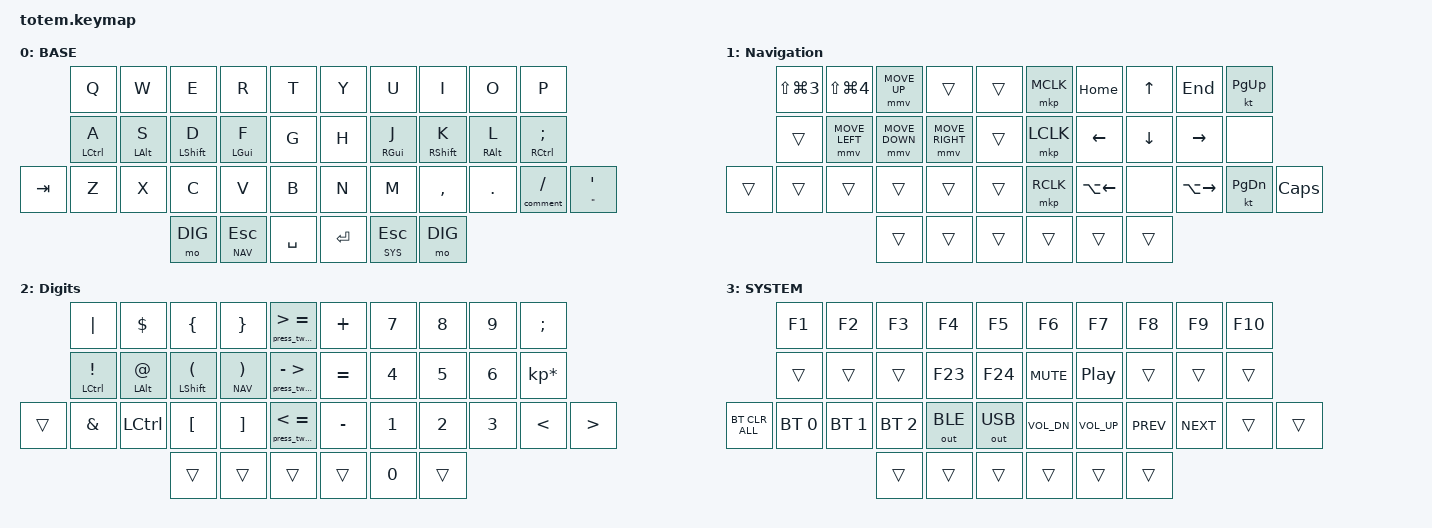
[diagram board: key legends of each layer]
//
//                                                        ▀▀▀▀▀     ▀▀▀▀▀          ▀▀█▀▀
//                                                        ▄▀▀▀▄  ▄  ▄▀▀▀▄  ▄  ▄▀▀▀▄  █  ▄▀▀▀▄
//                                                        █   █  █  █   █  █  █   █  █  █   █
//                                                         ▀▀▀   █   ▀▀▀   █   ▀▀▀   ▀   ▀▀▀
//                                                               █      ▄▄▄█▄▄▄    █   █
//                                                               ▀      █  █  █     █▄█
//                                                             ▀▀▀▀▀    █  █  █      ▀
//                                                                      ▀  ▀  ▀
//
// ▄▄▄▄▄▄▄▄▄▄▄▄▄▄▄▄▄▄▄▄▄▄▄▄▄▄▄▄▄▄▄▄▄▄▄▄▄▄▄▄▄▄▄▄▄▄▄▄▄▄▄▄▄▄▄▄▄▄▄▄▄▄▄▄▄▄▄▄▄▄▄▄▄▄▄▄▄▄▄▄▄▄▄▄▄▄▄▄▄▄▄▄▄▄▄▄▄▄▄▄▄▄▄▄▄▄▄▄▄▄▄▄▄▄▄▄▄▄▄▄▄▄▄▄▄▄▄▄▄▄▄▄▄▄▄▄▄▄▄▄▄▄▄▄▄▄▄▄▄

#include "zmk-helpers/helper.h"
#include "zmk-helpers/key-labels/totem.h"
#include <behaviors.dtsi>
#include <dt-bindings/zmk/bt.h>
#include <dt-bindings/zmk/keys.h>
#include <dt-bindings/zmk/outputs.h>
#include <dt-bindings/zmk/pointing.h>

#define BASE 0
#define NAV  1
#define DIG  2
#define SYS  3
#define QUICK_TAP_MS 175

#define COMBO_TIMEOUT_LANG_SEL_MS 70
#define COMBO_IDLE_LANG_SEL_MS 250
#define COMBO_LANG_EN_POS 23 24
#define COMBO_LANG_RU_POS 28 27

/* Timeless homerow mods */
// https://github.com/urob/zmk-config/tree/main#timeless-homerow-mods

#define KEYS_L LT0 LT1 LT2 LT3 LT4 LM0 LM1 LM2 LM3 LM4 LB0 LB1 LB2 LB3 LB4 LB5  // left hand
#define KEYS_R RT0 RT1 RT2 RT3 RT4 RM0 RM1 RM2 RM3 RM4 RB0 RB1 RB2 RB3 RB4 RB5  // right hand
#define THUMBS LH2 LH1 LH0 RH0 RH1 RH2 // thumb cluster for both hands

// proper urob's home row, uncomment it if you are not going to use visual editor
//#define MAKE_HRM(NAME, HOLD, TAP, TRIGGER_POS) \
//    ZMK_HOLD_TAP(NAME, \
//        flavor = "balanced"; \
//        tapping-term-ms = <280>; \
//        quick-tap-ms = <QUICK_TAP_MS>; \
//        require-prior-idle-ms = <150>; \
//        bindings = <HOLD>, <TAP>; \
//        hold-trigger-key-positions = <TRIGGER_POS>; \
//        hold-trigger-on-release; \
//    )
//
//MAKE_HRM(hml, &kp, &kp, KEYS_R THUMBS)  // left-hand HRMs
//MAKE_HRM(hmr, &kp, &kp, KEYS_L THUMBS)  // right-hand HRMs
//MAKE_HRM(hml_layer, &mo, &kp, KEYS_R THUMBS) // switch layer like HRM

&mt {
    quick-tap-ms = <100>;
    global-quick-tap;
    flavor = "tap-preferred";
    tapping-term-ms = <170>;
};

 / {
    combos {
        compatible = "zmk,combos";

        backspace {
            bindings = <&kp BACKSPACE>;
            key-positions = <16 17>;
            timeout-ms = <70>;
        };

        opt_backspace {
            bindings = <&kp LA(BACKSPACE)>;
            key-positions = <16 17 18>;
            timeout-ms = <70>;
        };

        shift {
            bindings = <&sk LEFT_SHIFT>;
            key-positions = <13 12>;
            timeout-ms = <100>;
        };

        to_digits_layer {
            bindings = <&to 3>;
            key-positions = <32 37>;
        };

        caps-words {
            bindings = <&caps_word>;
            key-positions = <11 12 13>;
        };

        combo_lang_en {
            timeout-ms = <COMBO_TIMEOUT_LANG_SEL_MS>;
            require-prior-idle-ms = <COMBO_IDLE_LANG_SEL_MS>;
            key-positions = <COMBO_LANG_EN_POS>;
            layers = <BASE>;
            bindings = <&lang_en_os>;
        };

        combo_lang_ru {
            timeout-ms = <COMBO_TIMEOUT_LANG_SEL_MS>;
            require-prior-idle-ms = <COMBO_IDLE_LANG_SEL_MS>;
            key-positions = <COMBO_LANG_RU_POS>;
            layers = <BASE>;
            bindings = <&lang_ru_os>;
        };

        combo_yo_ke {
            timeout-ms = <220>;
            key-positions = <3 4>;
            layers = <BASE>;
            bindings = <&kp GRAVE>;
        };
    };

    macros {
        /**
         * Temporarily switches to a layer (`&mo`) while a modifier is held.
         * Analogous to QMK's `LM()`, using a parameterized macro.
         *
         * Params:
         *  1. Layer to switch to
         *  2. Modifier to press while layer is active
         *
         * Example:
         *  `&lm NUM_LAYER LSHIFT`
         */

        lm: lm {
            compatible = "zmk,behavior-macro-two-param";
            wait-ms = <0>;
            tap-ms = <0>;
            #binding-cells = <2>;
            bindings =
                <&macro_param_1to1>,
                <&macro_press>,
                <&mo MACRO_PLACEHOLDER &macro_param_2to1>,
                <&macro_press>,
                <&kp MACRO_PLACEHOLDER>,
                <&macro_pause_for_release>,
                <&macro_param_2to1>,
                <&macro_release>,
                <&kp MACRO_PLACEHOLDER &macro_param_1to1>,
                <&macro_release>,
                <&mo MACRO_PLACEHOLDER>;
        };

        press_two_keys: press_two_keys {
            compatible = "zmk,behavior-macro-two-param";
            wait-ms = <0>;
            tap-ms = <0>;
            #binding-cells = <2>;
            bindings =
                <&macro_param_1to1>,
                <&macro_tap>,
                <&kp MACRO_PLACEHOLDER &macro_param_2to1>,
                <&macro_tap>,
                <&kp MACRO_PLACEHOLDER>;
        };

        more_or_equal: more_or_equal {
            compatible = "zmk,behavior-macro";
            #binding-cells = <0>;
            bindings = <&kp MINUS &kp GT>;
            label = "MORE_OR_EQUAL";
        };

        less_or_equal: less_or_equal {
            compatible = "zmk,behavior-macro";
            #binding-cells = <0>;
            bindings = <&kp LT &kp EQUAL>;
            label = "LESS_OR_EQUAL";
        };

        fun_arrow_right: fun_arrow_right {
            compatible = "zmk,behavior-macro";
            #binding-cells = <0>;
            bindings = <&kp MINUS &kp GT>;
            label = "FUN_ARROW_RIGHT";
        };

        comment: comment {
            compatible = "zmk,behavior-macro";
            #binding-cells = <0>;
            bindings = <&kp FSLH &kp STAR>;
            label = "MACROS_COMMENT";
        };

        lang_en_os: lang_en_os {
            compatible = "zmk,behavior-macro";
            #binding-cells = <0>;
            wait-ms = <0>;
            tap-ms  = <25>;
            bindings
                = <&macro_press     &kp LALT>
                , <&macro_wait_time 10>
                , <&macro_tap       &kp LSHFT>
                , <&macro_wait_time 10>
                , <&macro_release   &kp LALT>
                ;
        };

        lang_ru_os: lang_ru_os {
            compatible = "zmk,behavior-macro";
            #binding-cells = <0>;
            wait-ms = <0>;
            tap-ms  = <25>;
            bindings
                = <&macro_press     &kp LALT>
                , <&macro_wait_time 10>
                , <&macro_tap       &kp RSHFT>
                , <&macro_wait_time 10>
                , <&macro_release   &kp LALT>
                ;
        };
    };

    behaviors {
        // this is homerow mod that works identical to urob's one, but this one allows visual editor to understand

        hml: hml {
            compatible = "zmk,behavior-hold-tap";
            label = "HML";
            bindings = <&kp>, <&kp>;

            #binding-cells = <2>;
            tapping-term-ms = <280>;
            quick-tap-ms = <175>;
            require-prior-idle-ms = <150>;
            flavor = "balanced";
            hold-trigger-key-positions = <KEYS_R THUMBS>;
            hold-trigger-on-release;
        };

        hmr: hmr {
            compatible = "zmk,behavior-hold-tap";
            label = "HMR";
            bindings = <&kp>, <&kp>;

            #binding-cells = <2>;
            tapping-term-ms = <280>;
            quick-tap-ms = <175>;
            require-prior-idle-ms = <150>;
            flavor = "balanced";
            hold-trigger-key-positions = <KEYS_L THUMBS>;
            hold-trigger-on-release;
        };

        comment_or: comment_or {
            compatible = "zmk,behavior-hold-tap";
            label = "slash_or_comm";
            bindings = <&comment>, <&kp>;

            #binding-cells = <2>;
            tapping-term-ms = <200>;
            flavor = "tap-preferred";
        };
    };

    keymap {
        compatible = "zmk,keymap";

        QWERTY {
            label = "BASE";
            bindings = <
         &kp Q         &kp W        &kp E         &kp R            &kp T        &kp Y    &kp U             &kp I         &kp O             &kp P
         &hml LCTRL A  &hml LALT S  &hml LSHFT D  &hml LEFT_GUI F  &kp G        &kp H    &hmr RIGHT_GUI J  &hmr RSHFT K  &hmr RIGHT_ALT L  &hmr RCTRL SEMICOLON
&kp TAB  &kp Z         &kp X        &kp C         &kp V            &kp B        &kp N    &kp M             &kp COMMA     &kp DOT           &comment_or 0 SLASH   &mt DOUBLE_QUOTES SQT
                                    &mo DIG       &lt NAV ESC      &kp SPACE    &kp RET  &lt SYS ESC       &mo DIG
            >;
        };

        Navigation {
            label = "Navigation";
            bindings = <
        &kp LS(LG(NUMBER_3))  &kp LS(LG(NUMBER_4))  &mmv MOVE_UP           &trans           &trans    &mkp MCLK  &kp HOME      &kp UP    &kp END        &kt PAGE_UP
        &trans                &mmv MOVE_LEFT        &mmv MOVE_DOWN         &mmv MOVE_RIGHT  &trans    &mkp LCLK  &kp LEFT      &kp DOWN  &kp RIGHT      &none
&trans  &trans                &trans                &trans                 &trans           &trans    &mkp RCLK  &kp LA(LEFT)  &none     &kp LA(RIGHT)  &kt PAGE_DOWN  &kp CAPSLOCK
                              &trans                &trans                 &trans           &trans     &trans      &trans
            >;
        };

        digits {
            label = "Digits";
            bindings = <
        &kp PIPE                &kp DOLLAR             &kp LEFT_BRACE               &kp RIGHT_BRACE                 &press_two_keys GREATER_THAN EQUAL    &kp PLUS   &kp N7  &kp N8  &kp N9  &kp SEMICOLON
        &hml LCTRL EXCLAMATION  &hml LEFT_ALT AT_SIGN  &hml LSHFT LEFT_PARENTHESIS  &lt NAV RIGHT_PARENTHESIS       &press_two_keys MINUS GREATER_THAN    &kp EQUAL  &kp N4  &kp N5  &kp N6  &kp KP_MULTIPLY
&trans  &kp AMPERSAND           &kp LCTRL              &kp LEFT_BRACKET   &kp RIGHT_BRACKET  &press_two_keys LESS_THAN EQUAL       &kp MINUS  &kp N1  &kp N2  &kp N3  &kp LT           &kp GT
                                                       &trans                       &trans                          &trans                                &trans     &kp N0  &trans
            >;
        };

        sim_layer {
            label = "SYSTEM";
            bindings = <
                &kp F1        &kp F2        &kp F3        &kp F4        &kp F5          &kp F6        &kp F7        &kp F8      &kp F9      &kp F10
                &trans        &trans        &trans        &kp F23       &kp F24         &kp C_MUTE    &kp C_PP      &trans      &trans      &trans
&bt BT_CLR_ALL  &bt BT_SEL 0  &bt BT_SEL 1  &bt BT_SEL 2  &out OUT_BLE  &out OUT_USB    &kp C_VOL_DN  &kp C_VOL_UP  &kp C_PREV  &kp C_NEXT  &trans   &trans
                                            &trans        &trans        &trans          &trans        &trans        &trans
            >;
        };
    };
};
